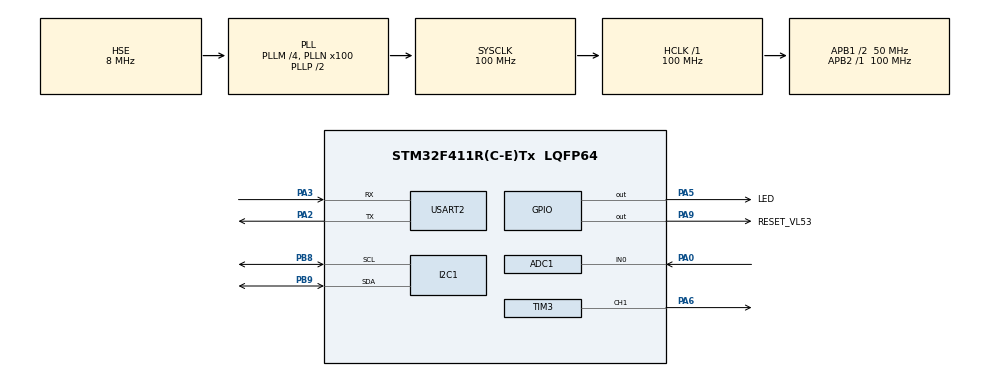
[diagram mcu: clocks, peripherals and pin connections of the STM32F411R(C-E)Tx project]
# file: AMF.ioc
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ADC1.Channel-0\#ChannelRegularConversion=ADC_CHANNEL_0
ADC1.ExternalTrigConv=ADC_EXTERNALTRIGCONV_T3_TRGO
ADC1.NbrOfConversionFlag=1
ADC1.Rank-0\#ChannelRegularConversion=1
ADC1.SamplingTime-0\#ChannelRegularConversion=ADC_SAMPLETIME_480CYCLES
ADC1.master=1
Dma.ADC1.1.Direction=DMA_PERIPH_TO_MEMORY
Dma.ADC1.1.FIFOMode=DMA_FIFOMODE_DISABLE
Dma.ADC1.1.Instance=DMA2_Stream0
Dma.ADC1.1.MemDataAlignment=DMA_MDATAALIGN_HALFWORD
Dma.ADC1.1.MemInc=DMA_MINC_ENABLE
Dma.ADC1.1.Mode=DMA_CIRCULAR
Dma.ADC1.1.PeriphDataAlignment=DMA_PDATAALIGN_HALFWORD
Dma.ADC1.1.PeriphInc=DMA_PINC_DISABLE
Dma.ADC1.1.Priority=DMA_PRIORITY_LOW
Dma.Request0=USART2_RX
Dma.Request1=ADC1
Dma.USART2_RX.0.Direction=DMA_PERIPH_TO_MEMORY
Dma.USART2_RX.0.FIFOMode=DMA_FIFOMODE_DISABLE
Dma.USART2_RX.0.Instance=DMA1_Stream5
Dma.USART2_RX.0.MemDataAlignment=DMA_MDATAALIGN_BYTE
Dma.USART2_RX.0.MemInc=DMA_MINC_ENABLE
Dma.USART2_RX.0.Mode=DMA_NORMAL
Dma.USART2_RX.0.PeriphDataAlignment=DMA_PDATAALIGN_BYTE
Dma.USART2_RX.0.PeriphInc=DMA_PINC_DISABLE
Dma.USART2_RX.0.Priority=DMA_PRIORITY_LOW
FREERTOS.Tasks01=boucle_courant,24,1024,ctrl_courant,Default,NULL,Dynamic,NULL,NULL;boucle_position,32,1024,ctrl_position,Default,NULL,Dynamic,NULL,NULL;test,8,1024,test_task,Default,NULL,Dynamic,NULL,NULL
FREERTOS.configCHECK_FOR_STACK_OVERFLOW=2
FREERTOS.configENABLE_FPU=1
FREERTOS.configUSE_NEWLIB_REENTRANT=1
I2C1.I2C_Mode=I2C_Fast
Mcu.Family=STM32F4
Mcu.Name=STM32F411R(C-E)Tx
Mcu.Package=LQFP64
NVIC.ADC_IRQn=true\:5\:0\:false\:false\:true\:true\:true\:true\:true
NVIC.DMA1_Stream5_IRQn=true\:5\:0\:false\:false\:true\:true\:false\:true\:true
NVIC.DMA2_Stream0_IRQn=true\:5\:0\:false\:false\:true\:true\:false\:true\:true
NVIC.PriorityGroup=NVIC_PRIORITYGROUP_4
NVIC.TIM1_TRG_COM_TIM11_IRQn=true\:15\:0\:false\:false\:true\:false\:false\:true\:true
NVIC.TIM2_IRQn=true\:5\:0\:false\:false\:true\:true\:true\:true\:true
NVIC.TIM5_IRQn=true\:5\:0\:false\:false\:true\:true\:true\:true\:true
NVIC.TimeBase=TIM1_TRG_COM_TIM11_IRQn
NVIC.TimeBaseIP=TIM11
NVIC.USART2_IRQn=true\:5\:0\:false\:false\:true\:true\:true\:true\:true
PA0-WKUP.Signal=ADCx_IN0
PA13.Mode=Serial_Wire
PA13.Signal=SYS_JTMS-SWDIO
PA14.Mode=Serial_Wire
PA14.Signal=SYS_JTCK-SWCLK
PA2.Mode=Asynchronous
PA2.Signal=USART2_TX
PA3.Mode=Asynchronous
PA3.Signal=USART2_RX
PA5.GPIO_Label=LED
PA5.Signal=GPIO_Output
PA6.Signal=S_TIM3_CH1
PA9.GPIO_Label=RESET_VL53
PA9.Signal=GPIO_Output
PB8.Mode=I2C
PB8.Signal=I2C1_SCL
PB9.Mode=I2C
PB9.Signal=I2C1_SDA
PH0\ -\ OSC_IN.Mode=HSE-External-Oscillator
PH0\ -\ OSC_IN.Signal=RCC_OSC_IN
PH1\ -\ OSC_OUT.Mode=HSE-External-Oscillator
PH1\ -\ OSC_OUT.Signal=RCC_OSC_OUT
ProjectManager.HeapSize=0x200
ProjectManager.StackSize=0x400
ProjectManager.TargetToolchain=STM32CubeIDE
RCC.48MHZClocksFreq_Value=50000000
RCC.AHBFreq_Value=100000000
RCC.APB1CLKDivider=RCC_HCLK_DIV2
RCC.APB1Freq_Value=50000000
RCC.APB1TimFreq_Value=100000000
RCC.APB2Freq_Value=100000000
RCC.APB2TimFreq_Value=100000000
RCC.CortexFreq_Value=100000000
RCC.HCLKFreq_Value=100000000
RCC.HSE_VALUE=8000000
RCC.HSI_VALUE=16000000
RCC.LSE_VALUE=32768
RCC.PLLM=4
RCC.PLLN=100
RCC.PLLSourceVirtual=RCC_PLLSOURCE_HSE
RCC.SYSCLKFreq_VALUE=100000000
RCC.SYSCLKSource=RCC_SYSCLKSOURCE_PLLCLK
RCC.VCOOutputFreq_Value=200000000
SH.ADCx_IN0.0=ADC1_IN0,IN0
SH.S_TIM3_CH1.0=TIM3_CH1,PWM Generation1 CH1
TIM2.Period=99999
TIM3.Channel-PWM\ Generation1\ CH1=TIM_CHANNEL_1
TIM3.CounterMode=TIM_COUNTERMODE_CENTERALIGNED1
TIM3.Period=9999
TIM3.TIM_MasterOutputTrigger=TIM_TRGO_UPDATE
TIM5.Period=999999
USART2.VirtualMode=VM_ASYNC
VP_FREERTOS_VS_CMSIS_V2.Mode=CMSIS_V2
VP_SYS_VS_tim11.Mode=TIM11
VP_TIM2_VS_ClockSourceINT.Mode=Internal
VP_TIM3_VS_ClockSourceINT.Mode=Internal
VP_TIM5_VS_ClockSourceINT.Mode=Internal
board=custom

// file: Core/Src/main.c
/* USER CODE BEGIN Header */
/**
 ******************************************************************************
 * @file           : main.c
 * @brief          : Main program body
 ******************************************************************************
 * @attention
 *
 * Copyright (c) 2026 STMicroelectronics.
 * All rights reserved.
 *
 * This software is licensed under terms that can be found in the LICENSE file
 * in the root directory of this software component.
 * If no LICENSE file comes with this software, it is provided AS-IS.
 *
 ******************************************************************************
 */
/* USER CODE END Header */
#include "main.h"
#include "cmsis_os.h"
#include "adc.h"
#include "dma.h"
#include "i2c.h"
#include "tim.h"
#include "usart.h"
#include "gpio.h"

void SystemClock_Config(void);
void MX_FREERTOS_Init(void);

int main(void)
{

  /* MCU Configuration--------------------------------------------------------*/

  /* Reset of all peripherals, Initializes the Flash interface and the Systick. */
  HAL_Init();

  /* Configure the system clock */
  SystemClock_Config();

  /* Initialize all configured peripherals */
  MX_GPIO_Init();
  MX_DMA_Init();
  MX_I2C1_Init();
  MX_USART2_UART_Init();
  MX_ADC1_Init();
  MX_TIM3_Init();
  MX_TIM2_Init();
  MX_TIM5_Init();
  /* USER CODE BEGIN 2 */

	// Reception de données par UART
	uart_receive_dma();

	// Sortie PWM pour commuter MOSFET et demarrer convertions ADC avec TRGO
	// f = 5 kHz
	HAL_TIM_PWM_Start(&htim3, TIM_CHANNEL_1);

	// Convertion ADC lancées pour TRGO du TIM3
	HAL_ADC_Start_DMA(&hadc1, &adc_raw, 1);
	__HAL_DMA_DISABLE_IT(hadc1.DMA_Handle, DMA_IT_HT);

  /* USER CODE END 2 */

  /* Init scheduler */
  osKernelInitialize();  /* Call init function for freertos objects (in cmsis_os2.c) */
  MX_FREERTOS_Init();

  /* Start scheduler */
  osKernelStart();

  /* We should never get here as control is now taken by the scheduler */

  /* Infinite loop */
  /* USER CODE BEGIN WHILE */
	while (1) {
		HAL_Delay(500);
    /* USER CODE END WHILE */

	}
}

void SystemClock_Config(void)
{
  RCC_OscInitTypeDef RCC_OscInitStruct = {0};
  RCC_ClkInitTypeDef RCC_ClkInitStruct = {0};

  /** Configure the main internal regulator output voltage
  */
  __HAL_RCC_PWR_CLK_ENABLE();
  __HAL_PWR_VOLTAGESCALING_CONFIG(PWR_REGULATOR_VOLTAGE_SCALE1);

  /** Initializes the RCC Oscillators according to the specified parameters
  * in the RCC_OscInitTypeDef structure.
  */
  RCC_OscInitStruct.OscillatorType = RCC_OSCILLATORTYPE_HSE;
  RCC_OscInitStruct.HSEState = RCC_HSE_ON;
  RCC_OscInitStruct.PLL.PLLState = RCC_PLL_ON;
  RCC_OscInitStruct.PLL.PLLSource = RCC_PLLSOURCE_HSE;
  RCC_OscInitStruct.PLL.PLLM = 4;
  RCC_OscInitStruct.PLL.PLLN = 100;
  RCC_OscInitStruct.PLL.PLLP = RCC_PLLP_DIV2;
  RCC_OscInitStruct.PLL.PLLQ = 4;
  if (HAL_RCC_OscConfig(&RCC_OscInitStruct) != HAL_OK)
  {
    Error_Handler();
  }

  /** Initializes the CPU, AHB and APB buses clocks
  */
  RCC_ClkInitStruct.ClockType = RCC_CLOCKTYPE_HCLK|RCC_CLOCKTYPE_SYSCLK
                              |RCC_CLOCKTYPE_PCLK1|RCC_CLOCKTYPE_PCLK2;
  RCC_ClkInitStruct.SYSCLKSource = RCC_SYSCLKSOURCE_PLLCLK;
  RCC_ClkInitStruct.AHBCLKDivider = RCC_SYSCLK_DIV1;
  RCC_ClkInitStruct.APB1CLKDivider = RCC_HCLK_DIV2;
  RCC_ClkInitStruct.APB2CLKDivider = RCC_HCLK_DIV1;

  if (HAL_RCC_ClockConfig(&RCC_ClkInitStruct, FLASH_LATENCY_3) != HAL_OK)
  {
    Error_Handler();
  }
}

void HAL_TIM_PeriodElapsedCallback(TIM_HandleTypeDef *htim)
{
  /* USER CODE BEGIN Callback 0 */

	BaseType_t xHigherPriorityTaskWoken = pdFALSE;

  /* USER CODE END Callback 0 */
  if (htim->Instance == TIM11)
  {
    HAL_IncTick();
  }
  /* USER CODE BEGIN Callback 1 */

	else if (htim->Instance == TIM2) {
		// Timer courant 1kHz
		xSemaphoreGiveFromISR(semaphore_courant, &xHigherPriorityTaskWoken);
	} else if (htim->Instance == TIM5) {
		// Timer position 100Hz
		xSemaphoreGiveFromISR(semaphore_position, &xHigherPriorityTaskWoken);
	}

	portYIELD_FROM_ISR(xHigherPriorityTaskWoken);

  /* USER CODE END Callback 1 */
}

void Error_Handler(void)
{
	__disable_irq();
	while (1) {
	}
}

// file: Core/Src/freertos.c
/* USER CODE BEGIN Header */
/**
  ******************************************************************************
  * File Name          : freertos.c
  * Description        : Code for freertos applications
  ******************************************************************************
  * @attention
  *
  * Copyright (c) 2026 STMicroelectronics.
  * All rights reserved.
  *
  * This software is licensed under terms that can be found in the LICENSE file
  * in the root directory of this software component.
  * If no LICENSE file comes with this software, it is provided AS-IS.
  *
  ******************************************************************************
  */
/* USER CODE END Header */

#include "FreeRTOS.h"
#include "task.h"
#include "main.h"
#include "cmsis_os.h"

/* USER CODE BEGIN Includes */

#include <stdint.h>
#include <math.h>
#include "semphr.h"
#include "usart.h"
#include "i2c.h"
#include "tim.h"
#include "vl53l0x_api.h"
#include "controle.h"

/* USER CODE END Includes */

/* USER CODE BEGIN Variables */

SemaphoreHandle_t semaphore_courant;
SemaphoreHandle_t semaphore_position;
uint32_t adc_raw = 0;
volatile uint16_t consigne_position = 65; // Hauteur du masse avec fil eloigné
volatile uint16_t position = 65;
static float consigne_puissance = 0;
volatile float courant = 0;
volatile float puissance = 0;
volatile float duty = 0;
volatile float tension_fil = 0;
VL53L0X_Dev_t vl53l0x_dev; 							// Handle du vl53l0x
VL53L0X_Error status;								// Status d'execution des fonctions
VL53L0X_RangingMeasurementData_t RangingData; 		// Variable de stockage de la mesure

/* USER CODE END Variables */
/* Definitions for boucle_courant */
osThreadId_t boucle_courantHandle;
const osThreadAttr_t boucle_courant_attributes = {
  .name = "boucle_courant",
  .stack_size = 1024 * 4,
  .priority = (osPriority_t) osPriorityNormal,
};
/* Definitions for boucle_position */
osThreadId_t boucle_positionHandle;
const osThreadAttr_t boucle_position_attributes = {
  .name = "boucle_position",
  .stack_size = 1024 * 4,
  .priority = (osPriority_t) osPriorityAboveNormal,
};
/* Definitions for test */
osThreadId_t testHandle;
const osThreadAttr_t test_attributes = {
  .name = "test",
  .stack_size = 1024 * 4,
  .priority = (osPriority_t) osPriorityLow,
};

void ctrl_courant(void *argument);
void ctrl_position(void *argument);
void test_task(void *argument);

void MX_FREERTOS_Init(void); /* (MISRA C 2004 rule 8.1) */

/* Hook prototypes */
void vApplicationStackOverflowHook(xTaskHandle xTask, signed char *pcTaskName);

/* USER CODE BEGIN 4 */
void vApplicationStackOverflowHook(xTaskHandle xTask, signed char *pcTaskName)
{
   /* Run time stack overflow checking is performed if
   configCHECK_FOR_STACK_OVERFLOW is defined to 1 or 2. This hook function is
   called if a stack overflow is detected. */
	taskDISABLE_INTERRUPTS();
	HAL_TIM_Base_Stop_IT(&htim2);
	HAL_TIM_Base_Stop_IT(&htim5);
	while (1) {

	}
}
/* USER CODE END 4 */

void MX_FREERTOS_Init(void) {

  /* USER CODE BEGIN RTOS_SEMAPHORES */
  /* add semaphores, ... */

	semaphore_courant = xSemaphoreCreateBinary();
	semaphore_position = xSemaphoreCreateBinary();

  /* USER CODE END RTOS_SEMAPHORES */

  /* Create the thread(s) */
  /* creation of boucle_courant */
  boucle_courantHandle = osThreadNew(ctrl_courant, NULL, &boucle_courant_attributes);

  /* creation of boucle_position */
  boucle_positionHandle = osThreadNew(ctrl_position, NULL, &boucle_position_attributes);

  /* creation of test */
  testHandle = osThreadNew(test_task, NULL, &test_attributes);

}

void ctrl_courant(void *argument)
{
  /* USER CODE BEGIN ctrl_courant */
	float consigne_courant = 0;
	float consigne_tension = 0;
	duty = 0;

  /* Infinite loop */
  while (1) {
    xSemaphoreTake(semaphore_courant, portMAX_DELAY);
    //HAL_GPIO_TogglePin(LED_GPIO_Port, LED_Pin);

    // I* = sqrt(P*/R) -> P* = I*^2 x R
    consigne_courant = sqrtf(consigne_puissance/R);

    consigne_tension = consigne_courant * R;

    duty = consigne_tension / VCC;

    set_pwm_duty(duty);

    puissance = courant * consigne_tension;
    tension_fil = consigne_tension;
  }
  /* USER CODE END ctrl_courant */
}

void ctrl_position(void *argument)
{
  /* USER CODE BEGIN ctrl_position */
	VL53L0X_config(&vl53l0x_dev, &hi2c1, &status);

	if (status != VL53L0X_ERROR_NONE) {
		HAL_UART_Transmit(&huart2, (uint8_t*)"Error config\r\n", 14, 1000);
	}

	float position_raw = 65;

  /* Infinite loop */
  while (1) {
    xSemaphoreTake(semaphore_position, portMAX_DELAY);
    //HAL_GPIO_TogglePin(LED_GPIO_Port, LED_Pin);

    // Sampling de l'hauter
    position_raw = VL53L0X_LeerDistanciaMM(&vl53l0x_dev, &RangingData, &status);

    // Filtrage IIR
    position = iir(position_raw);

    int16_t erreur = consigne_position - position;

    consigne_puissance = pid_position(erreur);
  }
  /* USER CODE END ctrl_position */
}

void test_task(void *argument)
{
  /* USER CODE BEGIN test_task */
	char cadena[32] = {0};
	int n = 0;
  /* Infinite loop */
  while (1) {
    vTaskDelay(portMAX_DELAY);
    //HAL_GPIO_TogglePin(LED_GPIO_Port, LED_Pin);
    n = snprintf(cadena, sizeof(cadena), "P = %u\n", VL53L0X_LeerDistanciaMM(&vl53l0x_dev, &RangingData, &status));
    HAL_UART_Transmit(&huart2, (uint8_t *)cadena, n, 100);
  }
  /* USER CODE END test_task */
}
